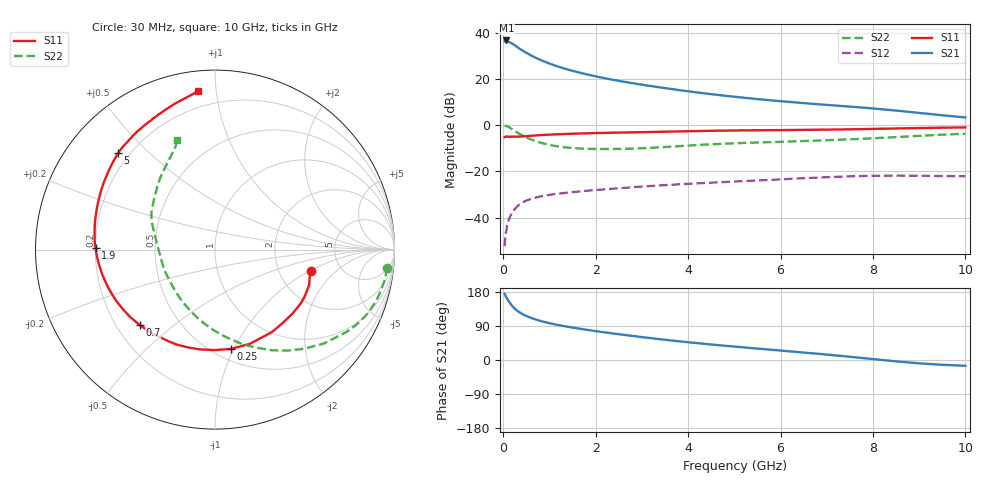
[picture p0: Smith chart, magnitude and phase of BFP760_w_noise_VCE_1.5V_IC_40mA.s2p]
! Infineon Technologies  Discrete & RF Semiconductors
! BFP760
! VCE =  1.5 V,  IC =  40 mA
! Common Emitter S-Parameters:  Nov 2012
# GHz  S  MA  R  50
!  f  S11  S21  S12  S22
! GHz  MAG  ANG  MAG  ANG  MAG  ANG  MAG  ANG
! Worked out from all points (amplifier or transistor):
!   99 points, 30 MHz to 10 GHz, reference 50 ohm
!   highest |S21| = 36.6 dB at 70 MHz (marker M1)
!   |S21| within 3 dB of that: start of sweep to 315.7 MHz
!   unconditionally stable (mu >= 1): 3.774 GHz to end of sweep
!   at 350 MHz: K = 0.32, MSG = 33.7 dB, |S12| = -34.3 dB
!   at 3.5 GHz: K = 0.98, MSG = 21.0 dB, |S12| = -26.0 dB
!   at 10 GHz: K = 1.08, MAG = 10.9 dB, |S12| = -22.1 dB
!   lowest NFmin = 0.92 dB at 900 MHz
!   S11 on the Smith chart (normalised r, x): 30 MHz: 3.02, -1.03; 250 MHz: 0.60, -0.97; 700 MHz: 0.30, -0.38; 1.9 GHz: 0.20, +0.01; 5 GHz: 0.16, +0.40; 10 GHz: 0.11, +0.89
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0.03  0.5462 -12.7  64.68 174.5  0.0024 83.7  0.9628 -6.0
0.05  0.5599 -20.5  67.04 169.5  0.0045 81.6  0.9592 -10.8
0.07  0.5641 -28.2  67.31 164.9  0.0053 80.1  0.9482 -15.4
0.1  0.5598 -39.5  64.59 158.6  0.0074 74.4  0.9247 -22.1
0.15  0.5578 -56.1  60.97 149.5  0.0105 69.3  0.8633 -32.2
0.2  0.5598 -69.8  56.77 141.7  0.0134 65.2  0.8016 -40.7
0.25  0.5604 -80.8  53.02 135.5  0.0153 60.5  0.7424 -48.1
0.35  0.5624 -98.9  44.97 125.9  0.0192 54.9  0.6455 -60.4
0.45  0.5707 -111.9  38.94 118.9  0.022 50.1  0.5708 -70.4
0.6  0.5838 -127.0  32.05 111.2  0.0251 45.5  0.4884 -83.4
0.7  0.5936 -134.9  28.53 107.0  0.027 43.1  0.4491 -91.0
0.9  0.6114 -147.2  23.31 100.1  0.0297 39.8  0.3918 -104.6
1.1  0.6253 -156.6  19.62 94.5  0.0319 38.0  0.3554 -116.2
1.7  0.657 -175.8  13.21 81.7  0.037 35.3  0.3083 -142.8
1.9  0.6657 179.4  11.88 78.0  0.0386 34.8  0.3041 -150.1
2.6  0.6879 165.8  8.663 66.5  0.0436 33.9  0.3049 -170.1
3.4  0.7134 153.0  6.482 54.8  0.0495 32.7  0.33 172.2
5  0.7614 135.1  4.085 35.5  0.0599 29.2  0.4026 151.6
5.1  0.7636 134.3  3.988 34.4  0.0606 29.0  0.4063 150.7
6.7  0.789 122.8  2.87 17.6  0.0721 24.0  0.4573 136.4
8.5  0.8425 105.6  2.053 -3.6  0.0806 12.7  0.5473 119.3
10  0.8869 96.3  1.457 -15.3  0.0782 8.0  0.648 109.2
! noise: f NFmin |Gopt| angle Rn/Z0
0.9  0.92  0.23  -166  0.11
1.8  0.94  0.24  -157  0.08
2.4  0.99  0.25  -149  0.08
3.5  1.15  0.25  -138  0.18
5.5  1.38  0.32  -79  0.5
8  1.61  0.47  -57  0.52
